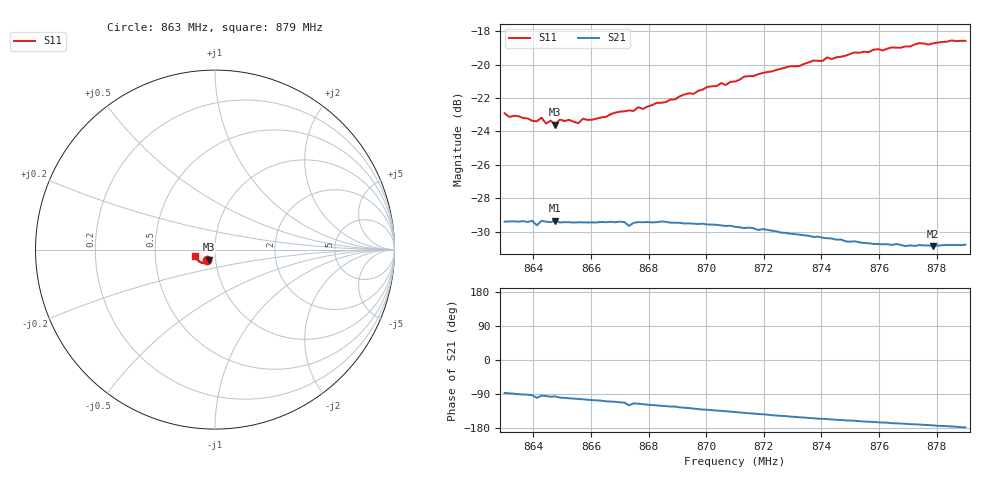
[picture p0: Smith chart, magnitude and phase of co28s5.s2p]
# HZ S RI R 50
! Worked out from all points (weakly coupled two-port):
!   101 points, 863 MHz to 879 MHz, reference 50 ohm
!   highest |S21| = -29.34 dB at 864.76 MHz (marker M1); lowest = -30.9 dB at 877.88 MHz (marker M2)
!   lowest |S11| = -23.6 dB at 864.76 MHz (marker M3), VSWR 1.14, Z = 46.4 - j5.27 ohm
!   |S11| at or under -10 dB: start of sweep to end of sweep
!   S12 and S22 are empty: the file has one direction only
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8.63e8  -0.0441 -0.0563  0.00189 -0.0338  0 0  0 0
8.6396e8  -0.04 -0.0549  -0.00176 -0.034  0 0  0 0
8.6412e8  -0.0384 -0.0557  -0.00567 -0.0325  0 0  0 0
8.6428e8  -0.0392 -0.0572  -0.00251 -0.034  0 0  0 0
8.6444e8  -0.0366 -0.0556  -0.00298 -0.0337  0 0  0 0
8.646e8  -0.0386 -0.056  -0.00407 -0.0335  0 0  0 0
8.6476e8  -0.0342 -0.0566  -0.00364 -0.0339  0 0  0 0
8.6492e8  -0.038 -0.0571  -0.00541 -0.0332  0 0  0 0
8.6556e8  -0.0355 -0.0565  -0.00747 -0.0329  0 0  0 0
8.6572e8  -0.035 -0.0593  -0.00796 -0.0327  0 0  0 0
8.6604e8  -0.0341 -0.0593  -0.00923 -0.0324  0 0  0 0
8.67e8  -0.0348 -0.0633  -0.0126 -0.0315  0 0  0 0
8.6732e8  -0.0352 -0.0638  -0.0162 -0.0286  0 0  0 0
8.6764e8  -0.0362 -0.0652  -0.0144 -0.0305  0 0  0 0
8.678e8  -0.0359 -0.0644  -0.0151 -0.0302  0 0  0 0
8.6844e8  -0.0365 -0.0676  -0.0174 -0.0291  0 0  0 0
8.7004e8  -0.0441 -0.0735  -0.0219 -0.0249  0 0  0 0
8.71e8  -0.0496 -0.0739  -0.024 -0.0222  0 0  0 0
8.7372e8  -0.0699 -0.0753  -0.0273 -0.0135  0 0  0 0
8.7644e8  -0.0942 -0.0616  -0.0281 -0.00666  0 0  0 0
8.7788e8  -0.105 -0.0488  -0.0284 -0.00371  0 0  0 0
8.79e8  -0.1114 -0.0384  -0.0289 -0.00114  0 0  0 0
